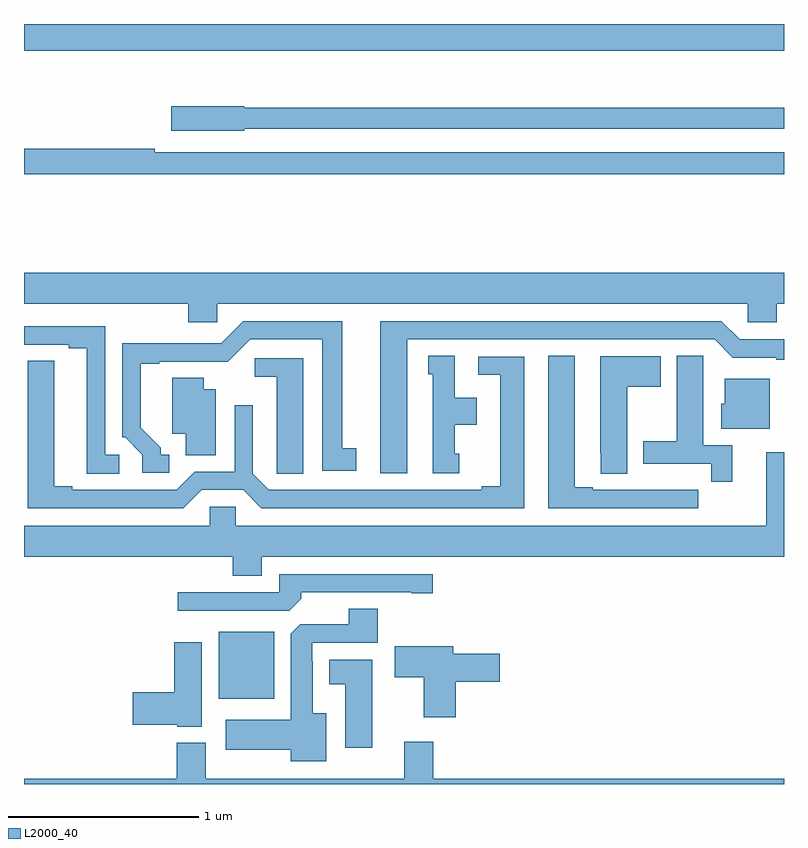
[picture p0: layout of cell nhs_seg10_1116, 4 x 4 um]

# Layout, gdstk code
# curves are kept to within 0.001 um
import gdstk
lib = gdstk.Library(unit=1e-6, precision=1e-09)
def R(c, l, rs):  # rectangles x0, y0, x1, y1
    for r in rs: c.add(gdstk.rectangle(r[:2], r[2:], *l))
def P(c, l, *ps):  # polygons
    for p in ps: c.add(gdstk.Polygon(p, *l))
L2000_40 = (2000, 40)

nhs_seg10_1116 = lib.new_cell('nhs_seg10_1116')
R(nhs_seg10_1116, L2000_40, [(170.024,1252.949,170.317,1253.302), (169,1256.36,173,1256.5)])
P(nhs_seg10_1116, L2000_40, [(170.16,1255.95),(173,1255.95),(173,1256.059),(170.16,1256.059),(170.16,1256.067),(169.776,1256.067),(169.776,1255.937),(170.16,1255.937)],
  [(173,1255.824),(169.688,1255.824),(169.688,1255.844),(169,1255.844),(169,1255.708),(173,1255.708)],
  [(170.016,1255.028),(172.809,1255.028),(172.809,1254.93),(172.961,1254.93),(172.961,1255.028),(173,1255.028),(173,1255.192),(169,1255.192),(169,1255.028),(169.865,1255.028),(169.865,1254.93),(170.016,1254.93)],
  [(169.765,1254.234),(169.72,1254.234),(169.72,1254.269),(169.615,1254.374),(169.615,1254.711),(169.711,1254.711),(169.711,1254.723),(170.072,1254.722),(170.19,1254.84),(170.57,1254.84),(170.57,1254.15),(170.749,1254.15),(170.749,1254.266),(170.674,1254.266),(170.674,1254.936),(170.154,1254.936),(170.037,1254.819),(169.781,1254.819),(169.781,1254.821),(169.518,1254.821),(169.518,1254.324),(169.533,1254.324),(169.623,1254.234),(169.623,1254.138),(169.765,1254.138)],
  [(171.016,1254.84),(172.635,1254.84),(172.731,1254.744),(172.958,1254.744),(172.958,1254.732),(173,1254.732),(173,1254.84),(172.767,1254.84),(172.671,1254.936),(170.876,1254.936),(170.876,1254.135),(171.016,1254.135)],
  [(169.501,1254.234),(169.428,1254.234),(169.428,1254.909),(169,1254.909),(169,1254.813),(169.235,1254.813),(169.235,1254.793),(169.331,1254.793),(169.331,1254.133),(169.501,1254.133)],
  [(172.727,1254.282),(172.576,1254.282),(172.576,1254.644),(172.575,1254.644),(172.575,1254.755),(172.436,1254.755),(172.436,1254.303),(172.259,1254.303),(172.259,1254.186),(172.618,1254.186),(172.618,1254.09),(172.727,1254.09)],
  [(171.292,1254.237),(171.268,1254.237),(171.268,1254.392),(171.382,1254.392),(171.382,1254.532),(171.268,1254.532),(171.268,1254.755),(171.128,1254.755),(171.128,1254.657),(171.152,1254.657),(171.152,1254.135),(171.292,1254.135)],
  [(172.549,1254.048),(172.436,1254.048),(172.436,1254.049),(172.27,1254.049),(172.27,1254.048),(171.994,1254.048),(171.994,1254.063),(171.898,1254.063),(171.898,1254.755),(171.758,1254.755),(171.758,1253.952),(172.549,1253.952)],
  [(172.174,1254.592),(172.351,1254.592),(172.351,1254.751),(172.034,1254.751),(172.034,1254.241),(172.035,1254.241),(172.035,1254.133),(172.174,1254.133)],
  [(169.935,1254.048),(170.153,1254.048),(170.249,1253.952),(171.634,1253.952),(171.634,1254.75),(171.39,1254.75),(171.39,1254.654),(171.506,1254.654),(171.506,1254.068),(171.41,1254.068),(171.41,1254.048),(170.289,1254.048),(170.205,1254.132),(170.205,1254.493),(170.109,1254.493),(170.109,1254.144),(169.899,1254.144),(169.803,1254.048),(169.255,1254.048),(169.255,1254.068),(169.159,1254.068),(169.159,1254.728),(169.02,1254.728),(169.019,1253.952),(169.839,1253.952)],
  [(170.47,1254.741),(170.214,1254.741),(170.214,1254.644),(170.33,1254.644),(170.33,1254.241),(170.331,1254.241),(170.331,1254.133),(170.47,1254.133)],
  [(170.008,1254.577),(169.945,1254.577),(169.945,1254.638),(169.781,1254.638),(169.781,1254.344),(169.85,1254.344),(169.85,1254.229),(170.008,1254.229)],
  [(172.924,1254.634),(172.688,1254.634),(172.688,1254.501),(172.67,1254.501),(172.67,1254.371),(172.924,1254.371)],
  [(170.251,1253.696),(173,1253.696),(173,1254.247),(172.907,1254.247),(172.907,1253.86),(170.115,1253.86),(170.115,1253.958),(169.977,1253.958),(169.977,1253.86),(169,1253.86),(169,1253.696),(170.099,1253.696),(170.099,1253.597),(170.251,1253.597)],
  [(170.459,1253.474),(170.459,1253.508),(171.038,1253.508),(171.038,1253.503),(171.151,1253.503),(171.151,1253.604),(170.343,1253.604),(170.343,1253.508),(169.809,1253.508),(169.809,1253.412),(170.397,1253.412)],
  [(170.59,1252.873),(170.521,1252.873),(170.521,1253.147),(170.517,1253.147),(170.517,1253.244),(170.861,1253.244),(170.861,1253.423),(170.708,1253.423),(170.708,1253.34),(170.454,1253.34),(170.405,1253.291),(170.405,1252.837),(170.061,1252.837),(170.061,1252.679),(170.405,1252.679),(170.405,1252.619),(170.59,1252.619)],
  [(169.936,1253.245),(169.79,1253.245),(169.79,1252.982),(169.572,1252.982),(169.572,1252.811),(169.806,1252.811),(169.806,1252.802),(169.936,1252.802)],
  [(171.272,1253.039),(171.505,1253.039),(171.505,1253.186),(171.259,1253.186),(171.259,1253.224),(170.952,1253.224),(170.952,1253.062),(171.104,1253.062),(171.104,1252.851),(171.272,1252.851)],
  [(170.833,1253.155),(170.606,1253.155),(170.606,1253.024),(170.69,1253.024),(170.69,1252.692),(170.833,1252.692)],
  [(173,1252.528),(171.155,1252.528),(171.155,1252.723),(171.002,1252.723),(171.002,1252.528),(169.957,1252.528),(169.957,1252.717),(169.805,1252.717),(169.805,1252.528),(169,1252.528),(169,1252.5),(173,1252.5)])

lib.write_gds('nhs_seg10_1116.gds')
